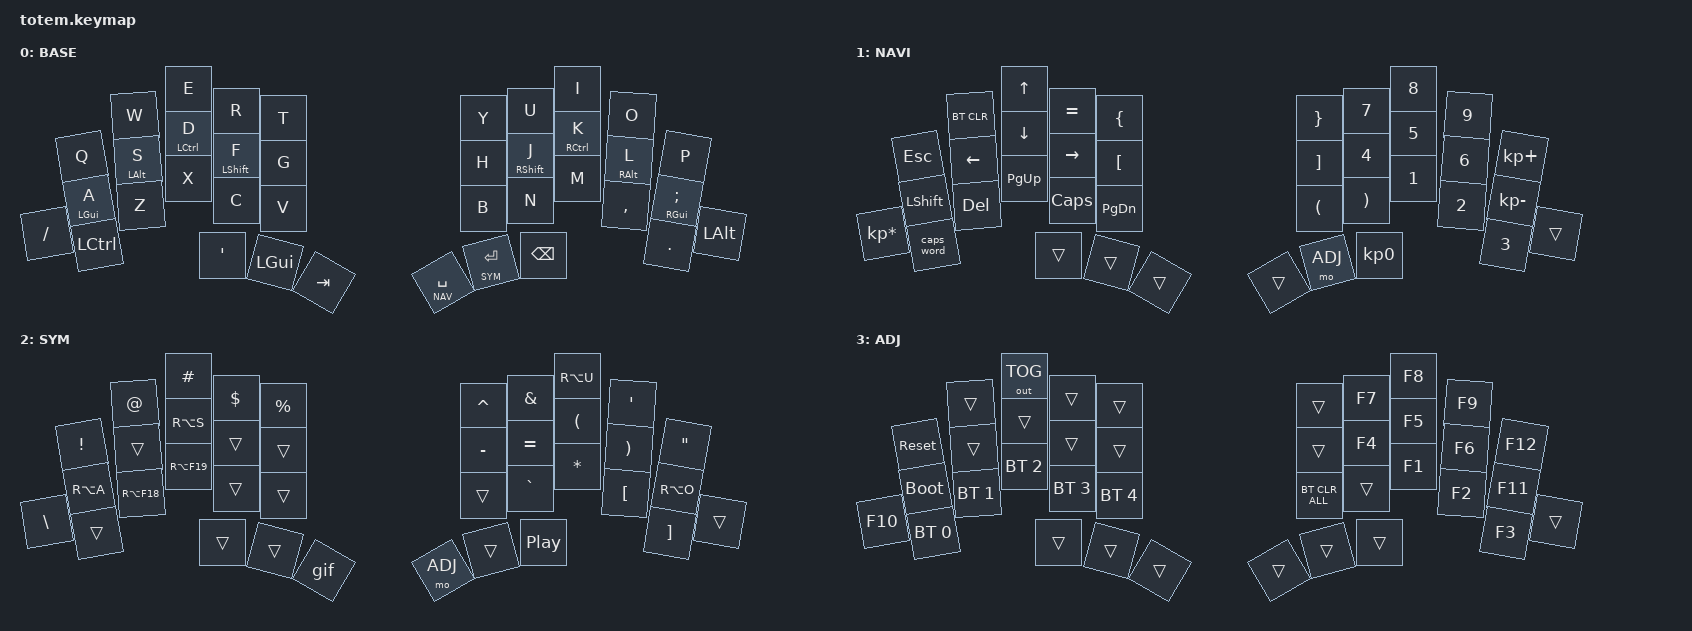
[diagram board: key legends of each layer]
//
//                                                        ▀▀▀▀▀     ▀▀▀▀▀          ▀▀█▀▀
//                                                        ▄▀▀▀▄  ▄  ▄▀▀▀▄  ▄  ▄▀▀▀▄  █  ▄▀▀▀▄
//                                                        █   █  █  █   █  █  █   █  █  █   █
//                                                         ▀▀▀   █   ▀▀▀   █   ▀▀▀   ▀   ▀▀▀
//                                                               █      ▄▄▄█▄▄▄    █   █  
//                                                               ▀      █  █  █     █▄█
//                                                             ▀▀▀▀▀    █  █  █      ▀
//                                                                      ▀  ▀  ▀
//
// ▄▄▄▄▄▄▄▄▄▄▄▄▄▄▄▄▄▄▄▄▄▄▄▄▄▄▄▄▄▄▄▄▄▄▄▄▄▄▄▄▄▄▄▄▄▄▄▄▄▄▄▄▄▄▄▄▄▄▄▄▄▄▄▄▄▄▄▄▄▄▄▄▄▄▄▄▄▄▄▄▄▄▄▄▄▄▄▄▄▄▄▄▄▄▄▄▄▄▄▄▄▄▄▄▄▄▄▄▄▄▄▄▄▄▄▄▄▄▄▄▄▄▄▄▄▄▄▄▄▄▄▄▄▄▄▄▄▄▄▄▄▄▄▄▄▄▄▄▄

#include <behaviors.dtsi>
#include <dt-bindings/zmk/bt.h>
#include <dt-bindings/zmk/keys.h>
#include <dt-bindings/zmk/outputs.h>
#include <dt-bindings/zmk/pointing.h>

#define BASE 0
#define NAV  1
#define SYM  2
#define ADJ  3

&mt {
    quick-tap-ms = <100>;
    require-prior-idle-ms = <100>;
    flavor = "tap-preferred";
    tapping-term-ms = <170>;
};

/ {
    combos {
        compatible = "zmk,combos";

        combo_esc {
            timeout-ms = <50>;
            key-positions = <0 1>;
            bindings = <&kp ESC>;
        };
    };

    macros {
        gif: gif {
            label = "giphy";
            compatible = "zmk,behavior-macro";
            #binding-cells = <0>;
            bindings =
                <&macro_press>,
                <&kp LSHFT>,
                <&macro_tap>,
                <&kp N2>,
                <&macro_release>,
                <&kp LSHFT>,
                <&macro_tap>,
                <&kp G &kp I &kp F>;
        };
    };

    keymap {
        compatible = "zmk,keymap";

        // ▄▄▄▄▄▄▄▄▄▄▄▄▄▄▄▄▄▄▄▄▄▄▄▄▄▄▄▄▄▄▄▄▄▄▄▄▄▄▄▄▄▄▄▄▄▄▄▄▄▄▄▄▄▄▄▄▄▄▄▄▄▄▄▄▄▄▄▄▄▄▄▄▄▄▄▄▄▄▄▄▄▄▄▄▄▄▄▄▄▄▄▄▄▄▄▄▄▄▄▄▄▄▄▄▄▄▄▄▄▄▄▄▄▄▄▄▄▄▄▄▄▄▄▄▄▄▄▄▄▄▄▄▄▄▄▄▄▄▄▄▄▄▄▄▄▄▄▄▄

        base_layer {
            // ┏━━━━━━━━━━━━━━━━━━━━━━━━━━━━━━━━━━━━━━━┓

            label = "BASE";

            // ┗━━━━━━━━━━━━━━━━━━━━━━━━━━━━━━━━━━━━━━━┛
            //             ┏━━━━━━━━━━━┳━━━━━━━━━━━┳━━━━━━━━━━━┳━━━━━━━━━━━┳━━━━━━━━━━━┓   ┏━━━━━━━━━━━┳━━━━━━━━━━━┳━━━━━━━━━━━┳━━━━━━━━━━━┳━━━━━━━━━━━┓
            //             ┃     Q     ┃     W     ┃     E     ┃     R     ┃     T     ┃   ┃     Y     ┃     U     ┃     I     ┃     O     ┃     P     ┃
            //             ┣━━━━━━━━━━━╋━━━━━━━━━━━╋━━━━━━━━━━━╋━━━━━━━━━━━╋━━━━━━━━━━━┫   ┣━━━━━━━━━━━╋━━━━━━━━━━━╋━━━━━━━━━━━╋━━━━━━━━━━━╋━━━━━━━━━━━┫
            //             ┃     A     ┃     S     ┃     D     ┃     F     ┃     G     ┃   ┃     H     ┃     J     ┃     K     ┃     L     ┃     ;     ┃
            // ┏━━━━━━━━━━━╋━━━━━━━━━━━╋━━━━━━━━━━━╋━━━━━━━━━━━╋━━━━━━━━━━━╋━━━━━━━━━━━┫   ┣━━━━━━━━━━━╋━━━━━━━━━━━╋━━━━━━━━━━━╋━━━━━━━━━━━╋━━━━━━━━━━━╋━━━━━━━━━━━┓
            // ┃   LCTRL   ┃     Z     ┃     X     ┃     C     ┃     V     ┃     B     ┃   ┃     N     ┃     M     ┃     ,     ┃     .     ┃     /     ┃     '     ┃
            // ┗━━━━━━━━━━━┻━━━━━━━━━━━┻━━━━━━━━━━━╋━━━━━━━━━━━╋━━━━━━━━━━━╋━━━━━━━━━━━┫   ┣━━━━━━━━━━━╋━━━━━━━━━━━╋━━━━━━━━━━━╋━━━━━━━━━━━┻━━━━━━━━━━━┻━━━━━━━━━━━┛
            //                                     ┃   LGUI    ┃    TAB    ┃    SPC    ┃   ┃    RET    ┃   BSPC    ┃   LALT    ┃
            //                                     ┗━━━━━━━━━━━┻━━━━━━━━━━━┻━━━━━━━━━━━┛   ┗━━━━━━━━━━━┻━━━━━━━━━━━┻━━━━━━━━━━━┛

            bindings = <
                  &kp Q       &kp W       &kp E         &kp R        &kp T            &kp Y        &kp U        &kp I          &kp O       &kp P
                  &mt LGUI A  &mt LALT S  &mt LCTRL D   &mt LSHFT F  &kp G            &kp H        &mt RSHFT J  &mt RCTRL K    &mt RALT L  &mt RGUI SEMI
&kp LEFT_CONTROL  &kp Z       &kp X       &kp C         &kp V        &kp B            &kp N        &kp M        &kp COMMA      &kp DOT     &kp SLASH       &kp APOS
                                          &kp LEFT_GUI  &kp TAB      &lt NAV SPACE    &lt SYM RET  &kp BSPC     &kp LEFT_ALT
            >;
        };

        // ▄▄▄▄▄▄▄▄▄▄▄▄▄▄▄▄▄▄▄▄▄▄▄▄▄▄▄▄▄▄▄▄▄▄▄▄▄▄▄▄▄▄▄▄▄▄▄▄▄▄▄▄▄▄▄▄▄▄▄▄▄▄▄▄▄▄▄▄▄▄▄▄▄▄▄▄▄▄▄▄▄▄▄▄▄▄▄▄▄▄▄▄▄▄▄▄▄▄▄▄▄▄▄▄▄▄▄▄▄▄▄▄▄▄▄▄▄▄▄▄▄▄▄▄▄▄▄▄▄▄▄▄▄▄▄▄▄▄▄▄▄▄▄▄▄▄▄▄▄

        nav_layer {
            // ┏━━━━━━━━━━━━━━━━━━━━━━━━━━━━━━━━━━━━━━━┓

            label = "NAVI";

            // ┗━━━━━━━━━━━━━━━━━━━━━━━━━━━━━━━━━━━━━━━┛
            //             ┏━━━━━━━━━━━┳━━━━━━━━━━━┳━━━━━━━━━━━┳━━━━━━━━━━━┳━━━━━━━━━━━┓   ┏━━━━━━━━━━━┳━━━━━━━━━━━┳━━━━━━━━━━━┳━━━━━━━━━━━┳━━━━━━━━━━━┓
            //             ┃    ESC    ┃  BT CLR   ┃     UP    ┃   EQUAL   ┃     {     ┃   ┃     }     ┃     7     ┃     8     ┃     9     ┃     +     ┃
            //             ┣━━━━━━━━━━━╋━━━━━━━━━━━╋━━━━━━━━━━━╋━━━━━━━━━━━╋━━━━━━━━━━━┫   ┣━━━━━━━━━━━╋━━━━━━━━━━━╋━━━━━━━━━━━╋━━━━━━━━━━━╋━━━━━━━━━━━┫
            //             ┃   SHIFT   ┃   LEFT    ┃    DOWN   ┃   RIGHT   ┃     [     ┃   ┃     ]     ┃     4     ┃     5     ┃     6     ┃     -     ┃
            // ┏━━━━━━━━━━━╋━━━━━━━━━━━╋━━━━━━━━━━━╋━━━━━━━━━━━╋━━━━━━━━━━━╋━━━━━━━━━━━┫   ┣━━━━━━━━━━━╋━━━━━━━━━━━╋━━━━━━━━━━━╋━━━━━━━━━━━╋━━━━━━━━━━━╋━━━━━━━━━━━┓
            // ┃ CAPS WRD  ┃    DEL    ┃   P UP    ┃    CAPS   ┃  P DOWN   ┃     (     ┃   ┃     )     ┃     1     ┃     2     ┃     3     ┃     *     ┃           ┃
            // ┗━━━━━━━━━━━┻━━━━━━━━━━━┻━━━━━━━━━━━╋━━━━━━━━━━━╋━━━━━━━━━━━╋━━━━━━━━━━━┫   ┣━━━━━━━━━━━╋━━━━━━━━━━━╋━━━━━━━━━━━╋━━━━━━━━━━━┻━━━━━━━━━━━┻━━━━━━━━━━━┛
            //                                     ┃           ┃           ┃           ┃   ┃    ADJ    ┃     0     ┃           ┃
            //                                     ┗━━━━━━━━━━━┻━━━━━━━━━━━┻━━━━━━━━━━━┛   ┗━━━━━━━━━━━┻━━━━━━━━━━━┻━━━━━━━━━━━┛

            bindings = <
            &kp ESC    &bt BT_CLR  &kp UP    &kp EQUAL  &kp LBRC    &kp RBRC  &kp N7        &kp N8        &kp N9        &kp KP_PLUS
            &kp LSHFT  &kp LEFT    &kp DOWN  &kp RIGHT  &kp LBKT    &kp RBKT  &kp NUMBER_4  &kp N5        &kp NUMBER_6  &kp KP_MINUS
&caps_word  &kp DEL    &kp PG_UP   &kp CAPS  &kp PG_DN  &kp LPAR    &kp RPAR  &kp NUMBER_1  &kp NUMBER_2  &kp NUMBER_3  &kp KP_MULTIPLY  &trans
                                   &trans    &trans     &trans      &mo ADJ   &kp KP_N0     &trans
            >;
        };

        // ▄▄▄▄▄▄▄▄▄▄▄▄▄▄▄▄▄▄▄▄▄▄▄▄▄▄▄▄▄▄▄▄▄▄▄▄▄▄▄▄▄▄▄▄▄▄▄▄▄▄▄▄▄▄▄▄▄▄▄▄▄▄▄▄▄▄▄▄▄▄▄▄▄▄▄▄▄▄▄▄▄▄▄▄▄▄▄▄▄▄▄▄▄▄▄▄▄▄▄▄▄▄▄▄▄▄▄▄▄▄▄▄▄▄▄▄▄▄▄▄▄▄▄▄▄▄▄▄▄▄▄▄▄▄▄▄▄▄▄▄▄▄▄▄▄▄▄▄▄

        sim_layer {
            // ┏━━━━━━━━━━━━━━━━━━━━━━━━━━━━━━━━━━━━━━━┓

            label = "SYM";

            // ┗━━━━━━━━━━━━━━━━━━━━━━━━━━━━━━━━━━━━━━━┛
            //             ┏━━━━━━━━━━━┳━━━━━━━━━━━┳━━━━━━━━━━━┳━━━━━━━━━━━┳━━━━━━━━━━━┓   ┏━━━━━━━━━━━┳━━━━━━━━━━━┳━━━━━━━━━━━┳━━━━━━━━━━━┳━━━━━━━━━━━┓
            //             ┃     !     ┃     @     ┃     #     ┃     $     ┃     %     ┃   ┃     ˆ     ┃     &     ┃     Ü     ┃     '     ┃     "     ┃
            //             ┣━━━━━━━━━━━╋━━━━━━━━━━━╋━━━━━━━━━━━╋━━━━━━━━━━━╋━━━━━━━━━━━┫   ┣━━━━━━━━━━━╋━━━━━━━━━━━╋━━━━━━━━━━━╋━━━━━━━━━━━╋━━━━━━━━━━━┫
            //             ┃     Ä     ┃           ┃    SZ     ┃           ┃           ┃   ┃     -     ┃     =     ┃     (     ┃     )     ┃     Ö     ┃
            // ┏━━━━━━━━━━━╋━━━━━━━━━━━╋━━━━━━━━━━━╋━━━━━━━━━━━╋━━━━━━━━━━━╋━━━━━━━━━━━┫   ┣━━━━━━━━━━━╋━━━━━━━━━━━╋━━━━━━━━━━━╋━━━━━━━━━━━╋━━━━━━━━━━━╋━━━━━━━━━━━┓
            // ┃           ┃  EMAIL1   ┃  EMAIL2   ┃           ┃           ┃           ┃   ┃     `     ┃     *     ┃     [     ┃     ]     ┃     \     ┃           ┃
            // ┗━━━━━━━━━━━┻━━━━━━━━━━━┻━━━━━━━━━━━╋━━━━━━━━━━━╋━━━━━━━━━━━╋━━━━━━━━━━━┫   ┣━━━━━━━━━━━╋━━━━━━━━━━━╋━━━━━━━━━━━╋━━━━━━━━━━━┻━━━━━━━━━━━┻━━━━━━━━━━━┛
            //                                     ┃           ┃    GIF    ┃    ADJ    ┃   ┃           ┃   C_PP    ┃           ┃
            //                                     ┗━━━━━━━━━━━┻━━━━━━━━━━━┻━━━━━━━━━━━┛   ┗━━━━━━━━━━━┻━━━━━━━━━━━┻━━━━━━━━━━━┛

            bindings = <
        &kp EXCL     &kp AT       &kp HASH   &kp DLLR  &kp PRCNT    &kp CARET  &kp AMPS      &kp RA(U)             &kp SQT                &kp DQT
        &kp RA(A)    &trans       &kp RA(S)  &trans    &trans       &kp MINUS  &kp EQUAL     &kp LEFT_PARENTHESIS  &kp RIGHT_PARENTHESIS  &kp RA(O)
&trans  &kp RA(F18)  &kp RA(F19)  &trans     &trans    &trans       &kp GRAVE  &kp ASTERISK  &kp LEFT_BRACKET      &kp RIGHT_BRACKET      &kp BSLH   &trans
                                  &trans     &gif      &mo ADJ      &trans     &kp C_PP      &trans
            >;
        };

        // ▄▄▄▄▄▄▄▄▄▄▄▄▄▄▄▄▄▄▄▄▄▄▄▄▄▄▄▄▄▄▄▄▄▄▄▄▄▄▄▄▄▄▄▄▄▄▄▄▄▄▄▄▄▄▄▄▄▄▄▄▄▄▄▄▄▄▄▄▄▄▄▄▄▄▄▄▄▄▄▄▄▄▄▄▄▄▄▄▄▄▄▄▄▄▄▄▄▄▄▄▄▄▄▄▄▄▄▄▄▄▄▄▄▄▄▄▄▄▄▄▄▄▄▄▄▄▄▄▄▄▄▄▄▄▄▄▄▄▄▄▄▄▄▄▄▄▄▄▄

        adjust_layer {
            // ┏━━━━━━━━━━━━━━━━━━━━━━━━━━━━━━━━━━━━━━━┓

            label = "ADJ";

            // ┗━━━━━━━━━━━━━━━━━━━━━━━━━━━━━━━━━━━━━━━┛
            //             ┏━━━━━━━━━━━┳━━━━━━━━━━━┳━━━━━━━━━━━┳━━━━━━━━━━━┳━━━━━━━━━━━┓   ┏━━━━━━━━━━━┳━━━━━━━━━━━┳━━━━━━━━━━━┳━━━━━━━━━━━┳━━━━━━━━━━━┓
            //             ┃   RESET   ┃           ┃  OUT TOG  ┃           ┃           ┃   ┃           ┃    F7     ┃    F8     ┃    F9     ┃    F12    ┃
            //             ┣━━━━━━━━━━━╋━━━━━━━━━━━╋━━━━━━━━━━━╋━━━━━━━━━━━╋━━━━━━━━━━━┫   ┣━━━━━━━━━━━╋━━━━━━━━━━━╋━━━━━━━━━━━╋━━━━━━━━━━━╋━━━━━━━━━━━┫
            //             ┃ BOOTLOAD  ┃           ┃           ┃           ┃           ┃   ┃           ┃    F4     ┃    F5     ┃    F6     ┃    F11    ┃
            // ┏━━━━━━━━━━━╋━━━━━━━━━━━╋━━━━━━━━━━━╋━━━━━━━━━━━╋━━━━━━━━━━━╋━━━━━━━━━━━┫   ┣━━━━━━━━━━━╋━━━━━━━━━━━╋━━━━━━━━━━━╋━━━━━━━━━━━╋━━━━━━━━━━━╋━━━━━━━━━━━┓
            // ┃   BT 0    ┃   BT 1    ┃   BT 2    ┃   BT 3    ┃   BT 4    ┃  BT CLRA  ┃   ┃           ┃    F1     ┃    F2     ┃    F3     ┃    F10    ┃           ┃
            // ┗━━━━━━━━━━━┻━━━━━━━━━━━┻━━━━━━━━━━━╋━━━━━━━━━━━╋━━━━━━━━━━━╋━━━━━━━━━━━┫   ┣━━━━━━━━━━━╋━━━━━━━━━━━╋━━━━━━━━━━━╋━━━━━━━━━━━┻━━━━━━━━━━━┻━━━━━━━━━━━┛
            //                                     ┃           ┃           ┃           ┃   ┃           ┃           ┃           ┃
            //                                     ┗━━━━━━━━━━━┻━━━━━━━━━━━┻━━━━━━━━━━━┛   ┗━━━━━━━━━━━┻━━━━━━━━━━━┻━━━━━━━━━━━┛

            bindings = <
              &sys_reset    &trans        &out OUT_TOG  &trans        &trans            &trans  &kp F7  &kp F8  &kp F9  &kp F12
              &bootloader   &trans        &trans        &trans        &trans            &trans  &kp F4  &kp F5  &kp F6  &kp F11
&bt BT_SEL 0  &bt BT_SEL 1  &bt BT_SEL 2  &bt BT_SEL 3  &bt BT_SEL 4  &bt BT_CLR_ALL    &trans  &kp F1  &kp F2  &kp F3  &kp F10  &trans
                                          &trans        &trans        &trans            &trans  &trans  &trans
            >;
        };
    };
};
